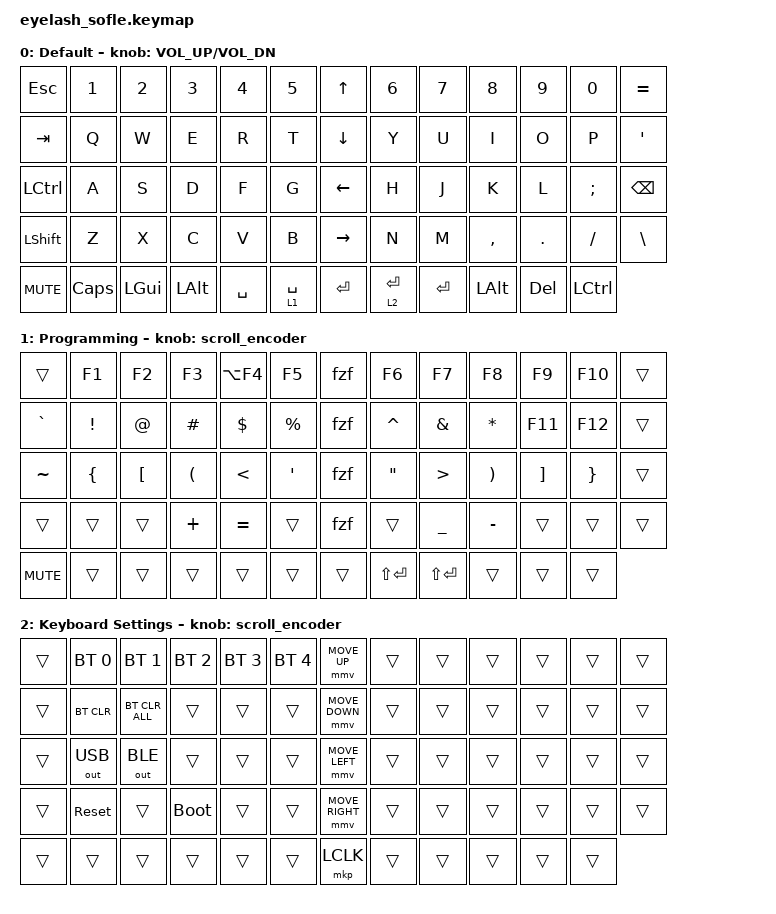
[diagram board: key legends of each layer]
#define ZMK_POINTING_DEFAULT_MOVE_VAL 1200  // 600
#define ZMK_POINTING_DEFAULT_SCRL_VAL 25   // 10

#include <input/processors.dtsi>
#include <zephyr/dt-bindings/input/input-event-codes.h>
#include <behaviors.dtsi>
#include <dt-bindings/zmk/bt.h>
#include <dt-bindings/zmk/keys.h>
#include <dt-bindings/zmk/outputs.h>
#include <dt-bindings/zmk/pointing.h>

&mmv_input_listener { input-processors = <&zip_xy_scaler 2 1>; };

&msc_input_listener { input-processors = <&zip_scroll_scaler 2 1>; };

&msc {
    acceleration-exponent = <1>;      // 0
    time-to-max-speed-ms = <100>;       // 300
    delay-ms = <0>;                   // 0
};

&mmv {
    time-to-max-speed-ms = <500>;
    acceleration-exponent = <1>;
    trigger-period-ms = <16>;
};

&soft_off { hold-time-ms = <2000>; };

/ {
    scroll_encoder: scroll_encoder {
        compatible = "zmk,behavior-sensor-rotate";
        #sensor-binding-cells = <0>;
        bindings = <&msc SCRL_DOWN>, <&msc SCRL_UP>;

        tap-ms = <100>;
    };

    behaviors {
    };

    combos {
        compatible = "zmk,combos";

        softoff {
            bindings = <&soft_off>;
            key-positions = <14 28 40>;
        };
    };

    macros {
        mvim_top: VimTop {
            compatible = "zmk,behavior-macro";
            #binding-cells = <0>;
            bindings = <&kp G &kp G>;
            label = "Vim Top";
        };

        nvim_save: nvim_save {
            compatible = "zmk,behavior-macro";
            #binding-cells = <0>;
            bindings = <&kp COLON &kp W &kp Q &kp A &kp EXCL>;
            label = "NVIM_SAVE";
        };

        fzf: fzf {
            compatible = "zmk,behavior-macro";
            #binding-cells = <0>;
            bindings = <&kp SPACE &kp FSLH>;
            label = "FZF";
        };
    };

    keymap {
        compatible = "zmk,keymap";

        L0 {
            bindings = <
&kp ESC     &kp N1    &kp N2        &kp N3    &kp N4     &kp N5         &kp UP_ARROW     &kp N6       &kp N7     &kp N8     &kp N9      &kp N0     &kp EQUAL
&kp TAB     &kp Q     &kp W         &kp E     &kp R      &kp T          &kp DOWN_ARROW   &kp Y        &kp U      &kp I      &kp O       &kp P      &kp SINGLE_QUOTE
&kp LCTRL   &kp A     &kp S         &kp D     &kp F      &kp G          &kp LEFT_ARROW   &kp H        &kp J      &kp K      &kp L       &kp SEMI   &kp BACKSPACE
&kp LSHFT   &kp Z     &kp X         &kp C     &kp V      &kp B          &kp RIGHT_ARROW  &kp N        &kp M      &kp COMMA  &kp DOT     &kp FSLH   &kp BSLH
&kp C_MUTE  &kp CAPS  &kp LEFT_GUI  &kp LALT  &kp SPACE  &lt 1 SPACE    &kp ENTER        &lt 2 ENTER  &kp ENTER  &kp LALT   &kp DELETE  &kp LCTRL
            >;

            sensor-bindings = <&inc_dec_kp C_VOLUME_UP C_VOL_DN>;
            display-name = "Default";
        };

        L1 {
            bindings = <
&trans      &kp F1          &kp F2            &kp F3                &kp LA(F4)     &kp F5              &fzf    &kp F6             &kp F7            &kp F8                 &kp F9             &kp F10          &trans
&kp GRAVE   &kp EXCL        &kp AT            &kp POUND             &kp DOLLAR     &kp PERCENT         &fzf    &kp CARET          &kp AMPERSAND     &kp ASTERISK           &kp F11            &kp F12          &trans
&kp TILDE   &kp LEFT_BRACE  &kp LEFT_BRACKET  &kp LEFT_PARENTHESIS  &kp LESS_THAN  &kp SINGLE_QUOTE    &fzf    &kp DOUBLE_QUOTES  &kp GREATER_THAN  &kp RIGHT_PARENTHESIS  &kp RIGHT_BRACKET  &kp RIGHT_BRACE  &trans
&trans      &trans          &trans            &kp PLUS              &kp EQUAL      &trans              &fzf    &trans             &kp UNDER         &kp MINUS              &trans             &trans           &trans
&kp C_MUTE  &trans          &trans            &trans                &trans         &trans              &trans  &kp LS(ENTER)      &kp LS(ENTER)     &trans                 &trans             &trans
            >;

            display-name = "Programming";
            sensor-bindings = <&scroll_encoder>;
        };

        L2 {
            bindings = <
&trans  &bt BT_SEL 0  &bt BT_SEL 1    &bt BT_SEL 2  &bt BT_SEL 3  &bt BT_SEL 4    &mmv MOVE_UP     &trans  &trans  &trans  &trans  &trans  &trans
&trans  &bt BT_CLR    &bt BT_CLR_ALL  &trans        &trans        &trans          &mmv MOVE_DOWN   &trans  &trans  &trans  &trans  &trans  &trans
&trans  &out OUT_USB  &out OUT_BLE    &trans        &trans        &trans          &mmv MOVE_LEFT   &trans  &trans  &trans  &trans  &trans  &trans
&trans  &sys_reset    &trans          &bootloader   &trans        &trans          &mmv MOVE_RIGHT  &trans  &trans  &trans  &trans  &trans  &trans
&trans  &trans        &trans          &trans        &trans        &trans          &mkp LCLK        &trans  &trans  &trans  &trans  &trans
            >;

            display-name = "Keyboard Settings";
            sensor-bindings = <&scroll_encoder>;
        };
    };
};
